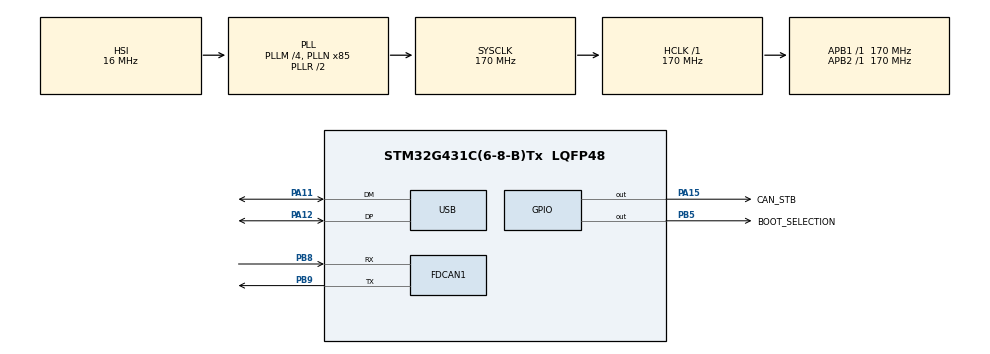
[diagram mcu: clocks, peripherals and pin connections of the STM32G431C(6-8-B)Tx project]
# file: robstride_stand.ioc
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FDCAN1.CalculateBaudRateNominal=999999
FDCAN1.CalculateTimeBitNominal=1000
FDCAN1.CalculateTimeQuantumNominal=5.882352941176471
FDCAN1.NominalPrescaler=1
FDCAN1.NominalSyncJumpWidth=34
FDCAN1.NominalTimeSeg1=135
FDCAN1.NominalTimeSeg2=34
Mcu.Family=STM32G4
Mcu.Name=STM32G431C(6-8-B)Tx
Mcu.Package=LQFP48
NVIC.PriorityGroup=NVIC_PRIORITYGROUP_4
NVIC.USB_LP_IRQn=true\:0\:0\:false\:false\:true\:false\:true\:true
PA11.Mode=Device
PA11.Signal=USB_DM
PA12.Mode=Device
PA12.Signal=USB_DP
PA13.Mode=Serial_Wire
PA13.Signal=SYS_JTMS-SWDIO
PA14.Mode=Serial_Wire
PA14.Signal=SYS_JTCK-SWCLK
PA15.GPIO_Label=CAN_STB
PA15.Signal=GPIO_Output
PB5.GPIO_Label=BOOT_SELECTION
PB5.Signal=GPIO_Output
PB8-BOOT0.Mode=FDCAN_Activate
PB8-BOOT0.Signal=FDCAN1_RX
PB9.Mode=FDCAN_Activate
PB9.Signal=FDCAN1_TX
ProjectManager.HeapSize=0x200
ProjectManager.StackSize=0x400
ProjectManager.TargetToolchain=STM32CubeIDE
RCC.ADC12Freq_Value=170000000
RCC.AHBFreq_Value=170000000
RCC.APB1Freq_Value=170000000
RCC.APB1TimFreq_Value=170000000
RCC.APB2Freq_Value=170000000
RCC.APB2TimFreq_Value=170000000
RCC.CK48CLockSelection=RCC_USBCLKSOURCE_HSI48
RCC.CortexFreq_Value=170000000
RCC.EXTERNAL_CLOCK_VALUE=12288000
RCC.HCLKFreq_Value=170000000
RCC.HSE_VALUE=8000000
RCC.HSI48_VALUE=48000000
RCC.HSI_VALUE=16000000
RCC.LSE_VALUE=32768
RCC.PLLM=RCC_PLLM_DIV4
RCC.PLLN=85
RCC.SYSCLKFreq_VALUE=170000000
RCC.SYSCLKSource=RCC_SYSCLKSOURCE_PLLCLK
RCC.USBFreq_Value=48000000
RCC.VCOOutputFreq_Value=340000000
USB_DEVICE.CLASS_NAME_FS=CDC
USB_DEVICE.VirtualMode=Cdc
USB_DEVICE.VirtualModeFS=Cdc_FS
VP_RCC_VS_USB.Mode=USB_FS
VP_SYS_VS_DBSignals.Mode=DisableDeadBatterySignals
VP_USB_DEVICE_VS_USB_DEVICE_CDC_FS.Mode=CDC_FS
board=custom

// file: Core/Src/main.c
/* USER CODE BEGIN Header */
/**
  ******************************************************************************
  * @file           : main.c
  * @brief          : Main program body
  ******************************************************************************
  * @attention
  *
  * Copyright (c) 2026 STMicroelectronics.
  * All rights reserved.
  *
  * This software is licensed under terms that can be found in the LICENSE file
  * in the root directory of this software component.
  * If no LICENSE file comes with this software, it is provided AS-IS.
  *
  ******************************************************************************
  */
/* USER CODE END Header */
#include "main.h"
#include "usb_device.h"

/* USER CODE BEGIN Includes */
#include <stdio.h>
#include <stdlib.h>
#include <string.h>
#include <math.h>
#include "usbd_cdc_if.h"
#include "robstride.h"
/* USER CODE END Includes */

/* USER CODE BEGIN PD */
#define N_MOTORS            2
#define TARGET_JOINT_DEG    35.0f   /* where to go, normalized joint degrees */
#define RAMP_DEG_PER_S      10.0f   /* how fast the target moves             */
#define KP                   12.0f   /* Nm/rad                                */
#define KD                   0.5f   /* Nm*s/rad                              */
#define CTRL_PERIOD_MS       5u     /* 200 Hz command rate per motor         */
#define FEEDBACK_TIMEOUT_MS 50u     /* stop if a motor goes quiet this long  */
/* Torque step-up: while a joint is short of its target, add feed-forward
 * torque at TFF_RATE; if it overshoots, take torque away at the same rate.
 * Inside REACHED_TOL_DEG of the final target the torque is held as is.  */
#define TFF_RATE_NM_PER_S    1.0f   /* how fast the extra torque grows       */
#define TFF_MAX_NM           8.0f   /* safety cap (RS01 peak is 17 Nm)       */
#define REACHED_TOL_DEG      1.0f   /* "close enough" to the target          */
#define DEG2RAD  0.01745329f
#define RAD2DEG 57.29578f
/* USER CODE END PD */

FDCAN_HandleTypeDef hfdcan1;

/* USER CODE BEGIN PV */
volatile uint8_t stop_request = 0;   /* set by usbd_cdc_if.c on any keypress */

static const uint8_t motor_ids[N_MOTORS]      = {1, 2};            /* right, left */
static const float   motor_sign[N_MOTORS]     = {-1.0f, 1.0f};
static const float   motor_rest_deg[N_MOTORS] = {-10.80f, -46.37f}; /* measured 11/20/26 */
/* USER CODE END PV */

void SystemClock_Config(void);
static void MX_GPIO_Init(void);
static void MX_FDCAN1_Init(void);

/* USER CODE BEGIN 0 */
/* Normalized joint angle <-> raw motor angle, per motor index i */
static float joint_to_raw_deg(int i, float joint) { return motor_rest_deg[i] + motor_sign[i] * joint; }
static float raw_to_joint_deg(int i, float raw)   { return motor_sign[i] * (raw - motor_rest_deg[i]); }

/* Ask motor 'id' for its angle and wait up to timeout_ms for the answer. */
static bool read_mech_pos(uint8_t id, float *rad, uint32_t timeout_ms)
{
  uint8_t rid;
  uint16_t idx;
  float v;

  if (RS_RequestParam(&hfdcan1, id, RS_PARAM_MECHPOS) != HAL_OK) {
    return false;
  }
  uint32_t t0 = HAL_GetTick();
  while (HAL_GetTick() - t0 <= timeout_ms) {
    if (RS_GetParamReply(&hfdcan1, &rid, &idx, &v) &&
        rid == id && idx == RS_PARAM_MECHPOS) {
      *rad = v;
      return true;
    }
  }
  return false;
}

static void say(const char *s)
{
  CDC_Transmit_FS((uint8_t *)s, (uint16_t)strlen(s));
}

/* Integer x100 formatting so no float printf is needed */
static int fmt2(char *buf, size_t n, float x)
{
  long c = (long)(x * 100.0f + (x < 0.0f ? -0.5f : 0.5f));
  return snprintf(buf, n, "%s%ld.%02ld", (c < 0) ? "-" : "", labs(c) / 100, labs(c) % 100);
}

/* Move 'from' toward 'to' by at most 'step' */
static float ramp(float from, float to, float step)
{
  if (to > from) return (from + step < to) ? from + step : to;
  return (from - step > to) ? from - step : to;
}

static void stop_all(void)
{
  for (int i = 0; i < N_MOTORS; i++) {
    RS_Stop(&hfdcan1, motor_ids[i]);
  }
}
/* USER CODE END 0 */

int main(void)
{

  /* MCU Configuration--------------------------------------------------------*/

  /* Reset of all peripherals, Initializes the Flash interface and the Systick. */
  HAL_Init();

  /* Configure the system clock */
  SystemClock_Config();

  /* Initialize all configured peripherals */
  MX_GPIO_Init();
  MX_FDCAN1_Init();
  MX_USB_Device_Init();
  /* USER CODE BEGIN 2 */
  /* PB5 LOW enables buffer U6 so the transceiver's RXD reaches PB8.
   * PA15 LOW puts the TCAN1042 in Normal mode (HIGH = Standby).    */
  HAL_GPIO_WritePin(BOOT_SELECTION_GPIO_Port, BOOT_SELECTION_Pin, GPIO_PIN_RESET);
  HAL_GPIO_WritePin(CAN_STB_GPIO_Port, CAN_STB_Pin, GPIO_PIN_RESET);

  /* Put every extended-ID frame in RX FIFO 0; drop standard-ID frames. */
  HAL_FDCAN_ConfigGlobalFilter(&hfdcan1, FDCAN_REJECT, FDCAN_ACCEPT_IN_RX_FIFO0,
                               FDCAN_REJECT_REMOTE, FDCAN_REJECT_REMOTE);
  if (HAL_FDCAN_Start(&hfdcan1) != HAL_OK) {
    Error_Handler();
  }

  /* Give user 5 s to open the terminal before anything moves. */
  HAL_Delay(5000);

  /* 1) Read where BOTH motors are now. Enable nothing unless both answer. */
  float start_rad[N_MOTORS] = {0};
  float start_joint[N_MOTORS] = {0};
  /*    Auto-retransmission is off, so one corrupted frame is simply lost:
   *    try each motor up to 10 times before giving up.                    */
  bool running = true;
  static char msg0[128];
  for (int i = 0; i < N_MOTORS; i++) {
    bool ok = false;
    for (int attempt = 0; attempt < 10 && !ok; attempt++) {
      ok = read_mech_pos(motor_ids[i], &start_rad[i], 20);
    }
    if (!ok) {
      FDCAN_ProtocolStatusTypeDef ps;
      FDCAN_ErrorCountersTypeDef ec;
      HAL_FDCAN_GetProtocolStatus(&hfdcan1, &ps);
      HAL_FDCAN_GetErrorCounters(&hfdcan1, &ec);
      snprintf(msg0, sizeof msg0,
               "Motor %u did not answer. LEC %lu TEC %lu REC %lu bus-off %lu. Not enabling.\r\n",
               motor_ids[i], (unsigned long)ps.LastErrorCode, (unsigned long)ec.TxErrorCnt,
               (unsigned long)ec.RxErrorCnt, (unsigned long)ps.BusOff);
      running = false;
    }
    start_joint[i] = raw_to_joint_deg(i, start_rad[i] * RAD2DEG);
  }

  if (!running) {
    /* repeat the reason every second so it is not missed */
    while (1) {
      say(msg0);
      HAL_Delay(1000);
    }
  } else {
    /* 2) Reset mode, operation-control mode (run_mode 0), enable, and
     *    first command = hold the CURRENT angle so nothing jumps.        */
    for (int i = 0; i < N_MOTORS; i++) {
      RS_Stop(&hfdcan1, motor_ids[i]);
      HAL_Delay(2);
      RS_SetRunMode(&hfdcan1, motor_ids[i], 0);
      HAL_Delay(2);
      RS_Enable(&hfdcan1, motor_ids[i]);
      HAL_Delay(2);
      RS_Control(&hfdcan1, motor_ids[i], start_rad[i], 0.0f, KP, KD, 0.0f);
      HAL_Delay(2);
    }
    say("Motors 1 and 2 enabled. Press any key to stop.\r\n");
  }

  uint32_t t_start = HAL_GetTick();
  uint32_t t_last_fb[N_MOTORS] = { HAL_GetTick(), HAL_GetTick() };
  uint32_t t_last_print = 0;
  RS_Feedback fb[N_MOTORS] = {0};
  float joint_target[N_MOTORS] = {0};
  float tff[N_MOTORS] = {0};          /* feed-forward torque, motor frame, Nm */
  bool  reached[N_MOTORS] = {false};  /* true = torque frozen at target       */
  /* USER CODE END 2 */

  /* Infinite loop */
  while (1)
  {

    /* USER CODE BEGIN 3 */
    if (!running) {
      HAL_Delay(100);
      continue;
    }

    /* Each target ramps from that motor's start angle to TARGET_JOINT_DEG,
     * in joint degrees, then is converted to that motor's raw radians.   */
    float step = RAMP_DEG_PER_S * (HAL_GetTick() - t_start) / 1000.0f;
    for (int i = 0; i < N_MOTORS; i++) {
      joint_target[i] = ramp(start_joint[i], TARGET_JOINT_DEG, step);

      /* Adjust the extra torque in BOTH directions: more push while the joint
       * is below target, less push once it has overshot. Inside the
       * +/-REACHED_TOL_DEG band the torque is left alone (HOLD).           */
      float err = joint_target[i] - raw_to_joint_deg(i, fb[i].pos_rad * RAD2DEG);
      reached[i] = (joint_target[i] == TARGET_JOINT_DEG &&
                    fabsf(err) < REACHED_TOL_DEG);
      if (fabsf(err) >= REACHED_TOL_DEG) {
        /* motor sign converts joint direction to motor direction (ID 1 is
         * mirrored)                                                       */
        float d = TFF_RATE_NM_PER_S * CTRL_PERIOD_MS / 1000.0f;
        tff[i] += (err > 0.0f ? d : -d) * motor_sign[i];
        if (tff[i] >  TFF_MAX_NM) tff[i] =  TFF_MAX_NM;
        if (tff[i] < -TFF_MAX_NM) tff[i] = -TFF_MAX_NM;
      }

      RS_Control(&hfdcan1, motor_ids[i],
                 joint_to_raw_deg(i, joint_target[i]) * DEG2RAD,
                 0.0f, KP, KD, tff[i]);
    }
    HAL_Delay(CTRL_PERIOD_MS);

    /* Each command is answered by a type-2 feedback frame; sort by motor. */
    RS_Feedback f;
    while (RS_GetFeedback(&hfdcan1, &f)) {
      for (int i = 0; i < N_MOTORS; i++) {
        if (f.id == motor_ids[i]) {
          fb[i] = f;
          t_last_fb[i] = HAL_GetTick();
        }
      }
    }

    /* Stop conditions: keypress, fault on either motor, or either goes quiet. */
    const char *why = NULL;
    int who = 0;
    if (stop_request) {
      why = "key pressed";
    }
    for (int i = 0; i < N_MOTORS && why == NULL; i++) {
      if (fb[i].faults != 0) {
        why = "motor fault"; who = motor_ids[i];
      } else if (HAL_GetTick() - t_last_fb[i] > FEEDBACK_TIMEOUT_MS) {
        why = "no feedback"; who = motor_ids[i];
      }
    }
    if (why != NULL) {
      stop_all();
      running = false;
      static char m[96];
      snprintf(m, sizeof m, "STOPPED (%s, motor %d), faults 0x%02X 0x%02X. Both limp.\r\n",
               why, who, fb[0].faults, fb[1].faults);
      say(m);
      continue;
    }

    /* Print 10x per second: per motor target, actual (joint deg), torque */
    if (HAL_GetTick() - t_last_print >= 100) {
      t_last_print = HAL_GetTick();
      static char m[224];
      int n = 0;
      for (int i = 0; i < N_MOTORS; i++) {
        char a[16], b[16], c[16], d[16];
        fmt2(a, sizeof a, joint_target[i]);
        fmt2(b, sizeof b, raw_to_joint_deg(i, fb[i].pos_rad * RAD2DEG));
        fmt2(c, sizeof c, fb[i].torque_nm);
        fmt2(d, sizeof d, tff[i]);
        n += snprintf(m + n, sizeof m - n, "ID %u: tgt %s act %s deg %s Nm ff %s%s   ",
                      motor_ids[i], a, b, c, d,
                      reached[i] ? " HOLD" : (fabsf(tff[i]) >= TFF_MAX_NM ? " MAX" : ""));
      }
      snprintf(m + n, sizeof m - n, "\r\n");
      say(m);
    }
  }
  /* USER CODE END 3 */
}

void SystemClock_Config(void)
{
  RCC_OscInitTypeDef RCC_OscInitStruct = {0};
  RCC_ClkInitTypeDef RCC_ClkInitStruct = {0};
  RCC_CRSInitTypeDef pInit = {0};

  /** Configure the main internal regulator output voltage
  */
  HAL_PWREx_ControlVoltageScaling(PWR_REGULATOR_VOLTAGE_SCALE1_BOOST);

  /** Initializes the RCC Oscillators according to the specified parameters
  * in the RCC_OscInitTypeDef structure.
  */
  RCC_OscInitStruct.OscillatorType = RCC_OSCILLATORTYPE_HSI|RCC_OSCILLATORTYPE_HSI48;
  RCC_OscInitStruct.HSIState = RCC_HSI_ON;
  RCC_OscInitStruct.HSICalibrationValue = RCC_HSICALIBRATION_DEFAULT;
  RCC_OscInitStruct.HSI48State = RCC_HSI48_ON;
  RCC_OscInitStruct.PLL.PLLState = RCC_PLL_ON;
  RCC_OscInitStruct.PLL.PLLSource = RCC_PLLSOURCE_HSI;
  RCC_OscInitStruct.PLL.PLLM = RCC_PLLM_DIV4;
  RCC_OscInitStruct.PLL.PLLN = 85;
  RCC_OscInitStruct.PLL.PLLP = RCC_PLLP_DIV2;
  RCC_OscInitStruct.PLL.PLLQ = RCC_PLLQ_DIV2;
  RCC_OscInitStruct.PLL.PLLR = RCC_PLLR_DIV2;
  if (HAL_RCC_OscConfig(&RCC_OscInitStruct) != HAL_OK)
  {
    Error_Handler();
  }

  /** Initializes the CPU, AHB and APB buses clocks
  */
  RCC_ClkInitStruct.ClockType = RCC_CLOCKTYPE_HCLK|RCC_CLOCKTYPE_SYSCLK
                              |RCC_CLOCKTYPE_PCLK1|RCC_CLOCKTYPE_PCLK2;
  RCC_ClkInitStruct.SYSCLKSource = RCC_SYSCLKSOURCE_PLLCLK;
  RCC_ClkInitStruct.AHBCLKDivider = RCC_SYSCLK_DIV1;
  RCC_ClkInitStruct.APB1CLKDivider = RCC_HCLK_DIV1;
  RCC_ClkInitStruct.APB2CLKDivider = RCC_HCLK_DIV1;

  if (HAL_RCC_ClockConfig(&RCC_ClkInitStruct, FLASH_LATENCY_4) != HAL_OK)
  {
    Error_Handler();
  }

  /** Enable the SYSCFG APB clock
  */
  __HAL_RCC_CRS_CLK_ENABLE();

  /** Configures CRS
  */
  pInit.Prescaler = RCC_CRS_SYNC_DIV1;
  pInit.Source = RCC_CRS_SYNC_SOURCE_USB;
  pInit.Polarity = RCC_CRS_SYNC_POLARITY_RISING;
  pInit.ReloadValue = __HAL_RCC_CRS_RELOADVALUE_CALCULATE(48000000,1000);
  pInit.ErrorLimitValue = 34;
  pInit.HSI48CalibrationValue = 32;

  HAL_RCCEx_CRSConfig(&pInit);
}

static void MX_FDCAN1_Init(void)
{

  hfdcan1.Instance = FDCAN1;
  hfdcan1.Init.ClockDivider = FDCAN_CLOCK_DIV1;
  hfdcan1.Init.FrameFormat = FDCAN_FRAME_CLASSIC;
  hfdcan1.Init.Mode = FDCAN_MODE_NORMAL;
  hfdcan1.Init.AutoRetransmission = DISABLE;
  hfdcan1.Init.TransmitPause = DISABLE;
  hfdcan1.Init.ProtocolException = DISABLE;
  hfdcan1.Init.NominalPrescaler = 1;
  hfdcan1.Init.NominalSyncJumpWidth = 34;
  hfdcan1.Init.NominalTimeSeg1 = 135;
  hfdcan1.Init.NominalTimeSeg2 = 34;
  hfdcan1.Init.DataPrescaler = 1;
  hfdcan1.Init.DataSyncJumpWidth = 1;
  hfdcan1.Init.DataTimeSeg1 = 1;
  hfdcan1.Init.DataTimeSeg2 = 1;
  hfdcan1.Init.StdFiltersNbr = 0;
  hfdcan1.Init.ExtFiltersNbr = 0;
  hfdcan1.Init.TxFifoQueueMode = FDCAN_TX_FIFO_OPERATION;
  if (HAL_FDCAN_Init(&hfdcan1) != HAL_OK)
  {
    Error_Handler();
  }

}

static void MX_GPIO_Init(void)
{
  GPIO_InitTypeDef GPIO_InitStruct = {0};

  /* GPIO Ports Clock Enable */
  __HAL_RCC_GPIOA_CLK_ENABLE();
  __HAL_RCC_GPIOB_CLK_ENABLE();

  /*Configure GPIO pin Output Level */
  HAL_GPIO_WritePin(CAN_STB_GPIO_Port, CAN_STB_Pin, GPIO_PIN_RESET);

  /*Configure GPIO pin Output Level */
  HAL_GPIO_WritePin(BOOT_SELECTION_GPIO_Port, BOOT_SELECTION_Pin, GPIO_PIN_RESET);

  /*Configure GPIO pin : CAN_STB_Pin */
  GPIO_InitStruct.Pin = CAN_STB_Pin;
  GPIO_InitStruct.Mode = GPIO_MODE_OUTPUT_PP;
  GPIO_InitStruct.Pull = GPIO_NOPULL;
  GPIO_InitStruct.Speed = GPIO_SPEED_FREQ_LOW;
  HAL_GPIO_Init(CAN_STB_GPIO_Port, &GPIO_InitStruct);

  /*Configure GPIO pin : BOOT_SELECTION_Pin */
  GPIO_InitStruct.Pin = BOOT_SELECTION_Pin;
  GPIO_InitStruct.Mode = GPIO_MODE_OUTPUT_PP;
  GPIO_InitStruct.Pull = GPIO_NOPULL;
  GPIO_InitStruct.Speed = GPIO_SPEED_FREQ_LOW;
  HAL_GPIO_Init(BOOT_SELECTION_GPIO_Port, &GPIO_InitStruct);

}

void Error_Handler(void)
{
  __disable_irq();
  while (1)
  {
  }
}
